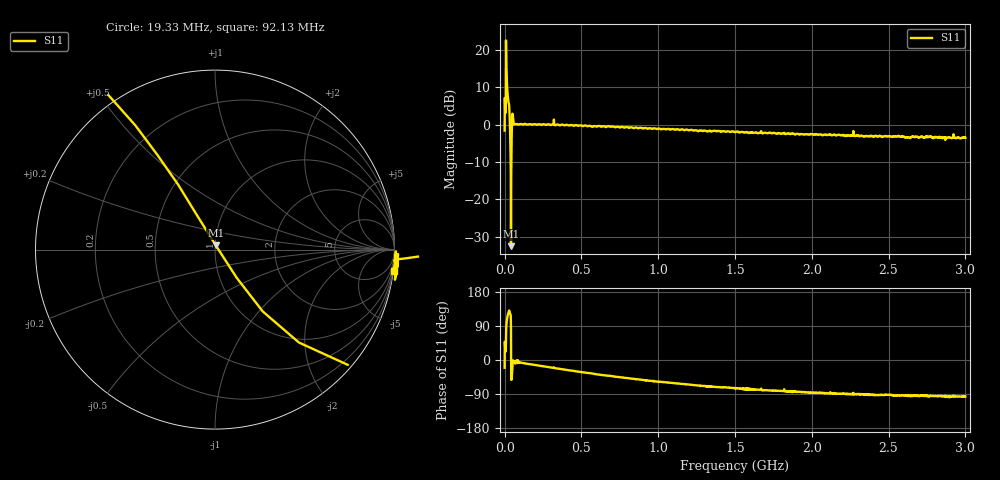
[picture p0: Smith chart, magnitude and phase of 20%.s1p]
# HZ S RI R 50
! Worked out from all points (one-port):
!   2020 points, 10 kHz to 3 GHz, reference 50 ohm
!   lowest |S11| = -32.5 dB at 41.61 MHz (marker M1), VSWR 1.05, Z = 50.4 + j2.36 ohm
!   |S11| at or under -10 dB: 39.28 MHz to 43.98 MHz (4.702 MHz wide, 11.3 % of centre)
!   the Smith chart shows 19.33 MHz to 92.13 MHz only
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10000  0.7785 -0.2911
2981758  1.349 0.9627
7439395  1.348 0.5711
1.635467e7  -1.081 2.999
1.932643e7  -1.126 2.311
2.378406e7  -1.152 1.757
2.526994e7  -1.161 1.637
2.675582e7  -1.17 1.536
2.82417e7  -1.176 1.452
2.972758e7  -1.189 1.382
3.269934e7  -0.7759 1.035
3.56711e7  -0.4438 0.692
4.161461e7  0.00444 0.0234
4.755813e7  0.739 -0.6418
5.350164e7  1.325 -0.0898
5.64734e7  1.131 -0.039
5.944516e7  1.014 -0.0544
6.39028e7  1.007 -0.078
6.836043e7  1.003 -0.1679
7.578983e7  1.02 -0.0245
3.759374e8  0.9101 -0.4135
7.503789e8  0.6426 -0.6497
1.126306e9  0.4057 -0.7673
1.500748e9  0.2057 -0.7627
1.875189e9  0.0882 -0.754
2.251117e9  0.00405 -0.7074
2.625558e9  -0.0485 -0.6754
3e9  -0.0749 -0.6622
